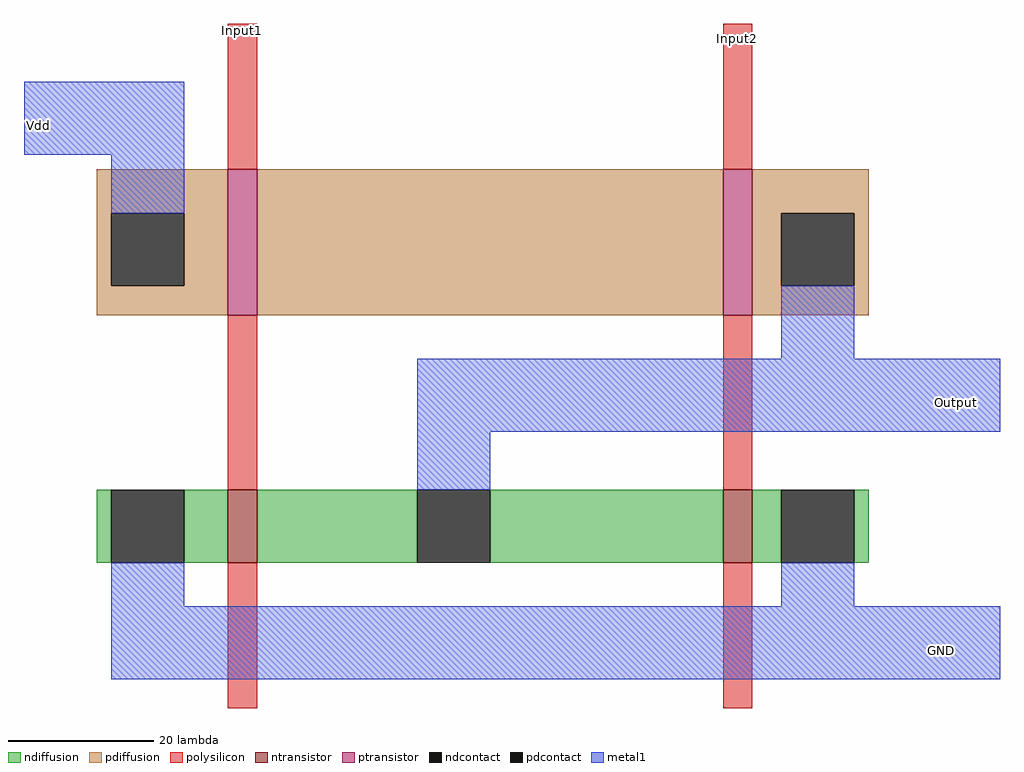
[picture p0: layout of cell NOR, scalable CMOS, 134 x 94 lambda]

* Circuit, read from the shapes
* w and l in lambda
.subckt NOR GND Input1 Input2 Output Vdd
M1 Output Input1 GND VSUBS nfet w=10 l=4
M2 GND Input2 Output VSUBS nfet w=10 l=4
M3 n1 Input1 Vdd NWELL pfet w=20 l=4
M4 Output Input2 n1 NWELL pfet w=20 l=4
.ends

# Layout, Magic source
magic
tech scmos
<< polysilicon >>
rect 28 74 32 94
rect 96 74 100 94
rect 28 30 32 54
rect 96 30 100 54
rect 28 0 32 20
rect 96 0 100 20
<< ndiffusion >>
rect 10 20 12 30
rect 22 20 28 30
rect 32 20 54 30
rect 64 20 96 30
rect 100 20 104 30
rect 114 20 116 30
<< pdiffusion >>
rect 10 68 28 74
rect 10 58 12 68
rect 22 58 28 68
rect 10 54 28 58
rect 32 54 96 74
rect 100 68 116 74
rect 100 58 104 68
rect 114 58 116 68
rect 100 54 116 58
<< metal1 >>
rect 0 76 22 86
rect 12 68 22 76
rect 104 48 114 58
rect 54 38 134 48
rect 54 30 64 38
rect 12 14 22 20
rect 104 14 114 20
rect 12 4 134 14
<< ntransistor >>
rect 28 20 32 30
rect 96 20 100 30
<< ptransistor >>
rect 28 54 32 74
rect 96 54 100 74
<< ndcontact >>
rect 12 20 22 30
rect 54 20 64 30
rect 104 20 114 30
<< pdcontact >>
rect 12 58 22 68
rect 104 58 114 68
<< labels >>
rlabel metal1 128 42 128 42 1 Output
rlabel metal1 2 80 2 80 3 Vdd
rlabel metal1 126 8 126 8 1 GND
rlabel polysilicon 30 93 30 93 5 Input1
rlabel polysilicon 98 92 98 92 5 Input2
<< end >>
